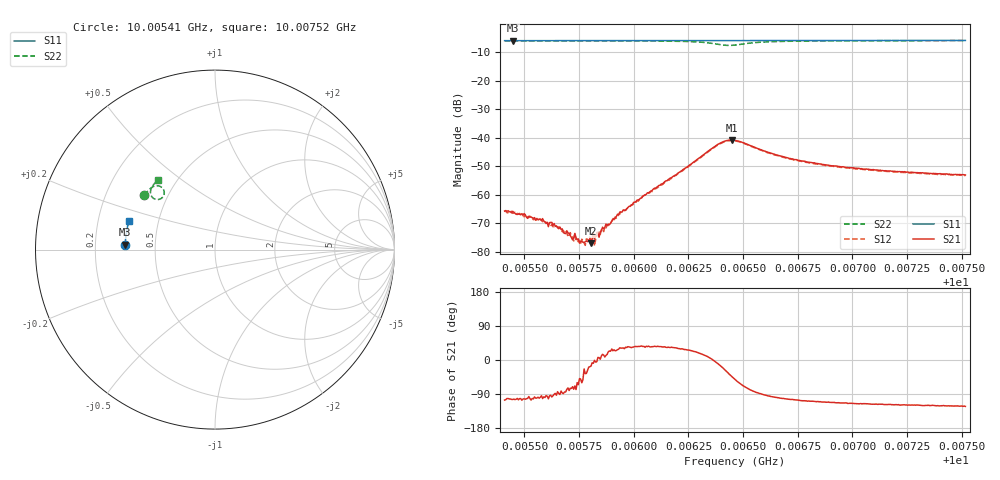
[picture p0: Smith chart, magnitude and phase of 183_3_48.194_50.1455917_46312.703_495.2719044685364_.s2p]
#  HZ  S  RI  R  50.00
! Rohde & Schwarz Vector Network Analyzer
! Rohde-Schwarz,ZNB20-2Port,1311601062101988,3.16
! Created: UTC 3/20/2024, 11:44:13 AM
! freq[Hz]  re:S11  im:S11  re:S21  im:S21  re:S12  im:S12  re:S22  im:S22
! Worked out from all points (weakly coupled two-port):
!   401 points, 10.00541 GHz to 10.00752 GHz, reference 50 ohm
!   highest |S21| = -40.82 dB at 10.00645 GHz (marker M1); lowest = -77.0 dB at 10.0058 GHz (marker M2)
!   lowest |S11| = -6.0 dB at 10.00545 GHz (marker M3), VSWR 3.00, Z = 16.7 + j1.18 ohm
!   |S11| at or under -10 dB: nowhere
!   |S22| runs from -7.7 to -6.0 dB; largest |S21 - S12| = 0.00054
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1.0005409e10  -0.4999 0.0243  -0.000141 -0.000501  -9.76e-05 -0.000495  -0.3936 0.3021
1.0005446e10  -0.4997 0.0266  -0.000127 -0.000498  -9.61e-05 -0.000465  -0.3921 0.3043
1.0005578e10  -0.4994 0.0352  -2.65e-05 -0.000354  -5.27e-05 -0.000353  -0.3864 0.3121
1.0005599e10  -0.4996 0.0366  -2.27e-05 -0.000314  -2.92e-05 -0.000325  -0.3854 0.3135
1.0005625e10  -0.4994 0.0383  -4.35e-05 -0.000326  -1.25e-05 -0.000302  -0.3841 0.3151
1.0005652e10  -0.4993 0.04  2.93e-05 -0.000264  1.66e-05 -0.000274  -0.3828 0.3166
1.0005746e10  -0.499 0.0461  7.17e-05 -0.000154  9.01e-05 -0.000121  -0.378 0.3227
1.0005762e10  -0.4989 0.0472  7.65e-05 -0.000133  0.000106 -0.000129  -0.3772 0.3236
1.0005783e10  -0.4988 0.0485  0.000126 -8.99e-05  0.000152 -7.55e-05  -0.3761 0.3249
1.0005804e10  -0.4987 0.05  0.000136 -3.94e-05  0.000148 -6.77e-05  -0.3748 0.3261
1.0005815e10  -0.4986 0.0506  0.000217 -3.35e-05  0.000203 -7.35e-06  -0.3744 0.3269
1.0005831e10  -0.4985 0.0516  0.000187 -1.51e-05  0.000218 8.53e-06  -0.3734 0.3279
1.0005841e10  -0.4985 0.0523  0.00018 1.99e-05  0.000211 3.33e-05  -0.3726 0.3286
1.0005931e10  -0.498 0.058  0.000398 0.000216  0.00037 0.000253  -0.3669 0.3347
1.0006115e10  -0.4969 0.0701  0.00119 0.000844  0.0011 0.000863  -0.3506 0.3478
1.0006384e10  -0.494 0.0872  0.00752 -0.00124  0.0074 -0.000823  -0.284 0.3268
1.0006447e10  -0.4934 0.0906  0.00666 -0.00621  0.00679 -0.00576  -0.3005 0.2845
1.0006463e10  -0.4934 0.0916  0.00562 -0.00702  0.00585 -0.00658  -0.3116 0.2799
1.0006658e10  -0.4919 0.1039  -0.000804 -0.00485  -0.000581 -0.00483  -0.3594 0.324
1.0006816e10  -0.49 0.1144  -0.00118 -0.00345  -0.00101 -0.00341  -0.3527 0.3457
1.0007169e10  -0.4852 0.1365  -0.00121 -0.00232  -0.00107 -0.00232  -0.3339 0.3718
1.0007517e10  -0.4792 0.1582  -0.0012 -0.00188  -0.00106 -0.00188  -0.3158 0.3903
